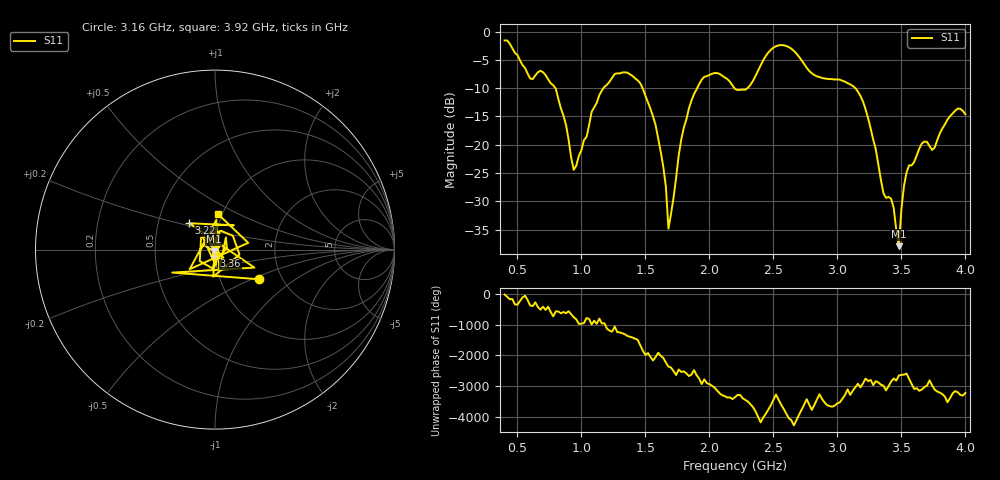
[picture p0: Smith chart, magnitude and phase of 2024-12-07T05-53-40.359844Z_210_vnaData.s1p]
!Created with skrf (http://scikit-rf.org).
# Hz S RI R 50.0
!freq ReS11 ImS11
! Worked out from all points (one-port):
!   181 points, 400 MHz to 4 GHz, reference 50 ohm
!   lowest |S11| = -37.9 dB at 3.48 GHz (marker M1), VSWR 1.03, Z = 49.2 - j0.978 ohm
!   |S11| at or under -10 dB: 797.1 MHz to 1.172 GHz (375.3 MHz wide, 38.1 % of centre); 1.478 GHz to 1.904 GHz (425.9 MHz wide, 25.2 % of centre); 3.141 GHz to end of sweep (the widest 3 of 4)
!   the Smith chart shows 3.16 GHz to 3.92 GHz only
!   S11 on the Smith chart (normalised r, x): 3.16 GHz: 1.53, -0.55; 3.22 GHz: 0.72, +0.22; 3.36 GHz: 0.99, -0.07; 3.92 GHz: 0.95, +0.39
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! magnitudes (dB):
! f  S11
! 400 MHz  -1.6
! 600 MHz  -8.3
! 720 MHz  -7.7
! 860 MHz  -14.8
! 940 MHz  -24.4
! 1.14 GHz  -11.2
! 1.3 GHz  -7.4
! 1.46 GHz  -9.1
! 1.56 GHz  -15.0
! 1.64 GHz  -23.9
! 1.68 GHz  -34.8
! 1.76 GHz  -21.9
! 1.84 GHz  -13.6
! 1.94 GHz  -8.5
! 2.2 GHz  -10.1
! 2.3 GHz  -9.9
! 2.5 GHz  -2.8
! 2.66 GHz  -3.4
! 3.1 GHz  -9.3
! 3.16 GHz  -10.6
! 3.22 GHz  -13.7
! 3.36 GHz  -28.6
! 3.42 GHz  -29.6
! 3.48 GHz  -37.9
! 3.52 GHz  -27.3
! 3.56 GHz  -23.6
! 3.92 GHz  -14.0
! 4 GHz  -14.6
